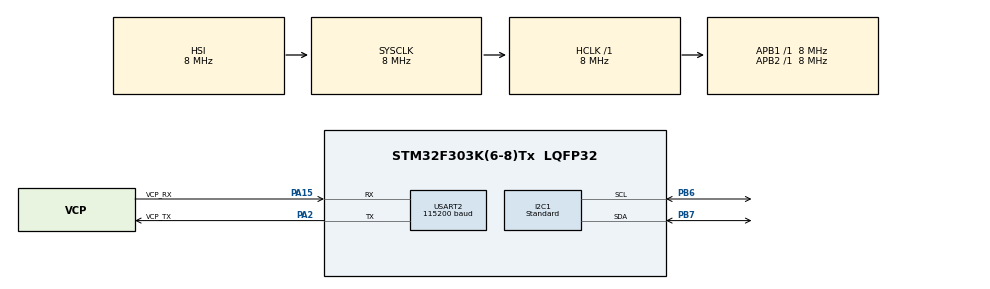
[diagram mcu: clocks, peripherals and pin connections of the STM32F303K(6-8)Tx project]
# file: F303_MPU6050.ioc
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I2C1.I2C_Speed_Mode=I2C_Standard
I2C1.Timing=0x2000090E
Mcu.Family=STM32F3
Mcu.Name=STM32F303K(6-8)Tx
Mcu.Package=LQFP32
NVIC.PriorityGroup=NVIC_PRIORITYGROUP_4
PA13.GPIO_Label=SWDIO
PA13.Mode=Serial_Wire
PA13.Signal=SYS_JTMS-SWDIO
PA14.GPIO_Label=SWCLK
PA14.Mode=Serial_Wire
PA14.Signal=SYS_JTCK-SWCLK
PA15.GPIO_Label=VCP_RX
PA15.Mode=Asynchronous
PA15.Signal=USART2_RX
PA2.GPIO_Label=VCP_TX
PA2.Mode=Asynchronous
PA2.Signal=USART2_TX
PB6.Mode=I2C
PB6.Signal=I2C1_SCL
PB7.Mode=I2C
PB7.Signal=I2C1_SDA
PF0\ /\ OSC_IN.GPIO_Label=MCO
PF0\ /\ OSC_IN.Mode=HSE-External-Clock-Source
PF0\ /\ OSC_IN.Signal=RCC_OSC_IN
ProjectManager.HeapSize=0x200
ProjectManager.StackSize=0x400
ProjectManager.TargetToolchain=STM32CubeIDE
RCC.AHBFreq_Value=8000000
RCC.APB1Freq_Value=8000000
RCC.APB2Freq_Value=8000000
RCC.CortexFreq_Value=8000000
RCC.HSE_VALUE=8000000
RCC.HSI_VALUE=8000000
RCC.SYSCLKFreq_VALUE=8000000
USART2.BaudRate=115200
USART2.VirtualMode-Asynchronous=VM_ASYNC
board=NUCLEO-F303K8

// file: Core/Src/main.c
/* USER CODE BEGIN Header */
/**
  ******************************************************************************
  * @file           : main.c
  * @brief          : Main program body
  ******************************************************************************
  * @attention
  *
  * Copyright (c) 2022 STMicroelectronics.
  * All rights reserved.
  *
  * This software is licensed under terms that can be found in the LICENSE file
  * in the root directory of this software component.
  * If no LICENSE file comes with this software, it is provided AS-IS.
  *
  ******************************************************************************
  */
/* USER CODE END Header */
#include "main.h"

/* USER CODE BEGIN Includes */
#include "stdio.h"
#include "string.h"

/* USER CODE END Includes */

I2C_HandleTypeDef hi2c1;

UART_HandleTypeDef huart2;

void SystemClock_Config(void);
static void MX_GPIO_Init(void);
static void MX_USART2_UART_Init(void);
static void MX_I2C1_Init(void);

/* USER CODE BEGIN 0 */
#define MPU6050_ADDR 			0XD0
#define SMPLRT_DIV_REG 			0X19
#define GYRO_CONFIG_REG 		0X1B
#define ACCEL_CONFIG_REG 		0X1C
#define ACCEL_XOUT_H_REG 		0X3B
#define TEMP_OUT_H_REG 			0X41
#define GYRO_XOUT_H_REG 		0X43
#define PWR_MGMT_1_REG 			0X6B
#define WHO_AM_I_REG 			0X75

int16_t Accel_X_RAW = 0;   // accelerazione
int16_t Accel_Y_RAW = 0;
int16_t Accel_Z_RAW = 0;

int16_t Gyro_X_RAW = 0;   // giroscopio
int16_t Gyro_Y_RAW = 0;
int16_t Gyro_Z_RAW = 0;

uint8_t Rec_Data1[6];  // dati acquisiti salvati in un registro
uint8_t Rec_Data2[6];

double Ax, Ay, Az, Gx, Gy, Gz;

// funzione per inizializzare tutte le periferiche dell'accelerometro/giroscopio

void MPU6050_Init (void)
{
	uint8_t check;
	check = 0;

	uint8_t Data;

	// guardo se il sensore è presente e può lavorare
	// leggo all'indirizzo 0x75 (WHO I AM)
	// se 0x68 o 104 allora vuol dire che è presente e inizia a lavorare bene
	HAL_I2C_Mem_Read(&hi2c1, MPU6050_ADDR, WHO_AM_I_REG, 1 ,&check, 1, HAL_MAX_DELAY);

	if (check == 104) // verifica presenza MPU
	{
		// registro di alimentazione PWR_MGMT_1 - tutti i bit a 0, riattivo lo slave gli dico tieniti pronto
		Data = 0;
		HAL_I2C_Mem_Write(&hi2c1, MPU6050_ADDR, PWR_MGMT_1_REG, 1, &Data, 1, 1000);
		// imposto frequenza, sample rate, con valore 7 in registro 0x19
		Data = 0x07;
		HAL_I2C_Mem_Write(&hi2c1, MPU6050_ADDR, SMPLRT_DIV_REG, 1, &Data, 1, 1000);
		// configuro accelerometro XA_ST=0; YA_ST=0; ZA_ST=0; 2g
		Data = 0x00;
		HAL_I2C_Mem_Write(&hi2c1, MPU6050_ADDR, ACCEL_CONFIG_REG, 1, &Data, 1, 1000);
		// configuro giroscopio XG_ST=0; YG_ST=0; ZG_ST=0; 250 deg/s
		Data = 0x00;
		HAL_I2C_Mem_Write(&hi2c1, MPU6050_ADDR, GYRO_CONFIG_REG, 1, &Data, 1, 1000);
	}

}

void MPU6050_Read_Accel(void)
{

	// leggo 6 byte dal reg ACCEL_XOUT_H

	HAL_I2C_Mem_Read(&hi2c1, MPU6050_ADDR, ACCEL_XOUT_H_REG, 1, Rec_Data1, 6, 1000);

	Accel_X_RAW = (int16_t)(Rec_Data1 [0] << 8 | Rec_Data1 [1]);
	Accel_Y_RAW = (int16_t)(Rec_Data1 [2] << 8 | Rec_Data1 [3]);
	Accel_Z_RAW = (int16_t)(Rec_Data1 [4] << 8 | Rec_Data1 [5]);

	// ora faccio la conversione in "g" e dobbiamo dividere per 16384.0 (FS_SEL=0 per forza da datasheet)

	Ax = Accel_X_RAW/16384.0;
	Ay = Accel_Y_RAW/16384.0;
	Az = Accel_Z_RAW/16384.0;
}

void MPU6050_Read_Gyro(void)
{

	// leggo 6 byte dal reg GYRO_XOUT_H

	HAL_I2C_Mem_Read(&hi2c1, MPU6050_ADDR, GYRO_XOUT_H_REG, 1, Rec_Data2, 6, 1000);

	Gyro_X_RAW = (int16_t)(Rec_Data2 [0] << 8 | Rec_Data2 [1]);
	Gyro_Y_RAW = (int16_t)(Rec_Data2 [2] << 8 | Rec_Data2 [3]);
	Gyro_Z_RAW = (int16_t)(Rec_Data2 [4] << 8 | Rec_Data2 [5]);

	// ora faccio la conversione in "deg/s" e dobbiamo dividere per 131.0 (FS_SEL=0 per forza da datasheet)

	Gx = Gyro_X_RAW/131.0;
	Gy = Gyro_Y_RAW/131.0;
	Gz = Gyro_Z_RAW/131.0;
}

/* USER CODE END 0 */

int main(void)
{

  /* MCU Configuration--------------------------------------------------------*/

  /* Reset of all peripherals, Initializes the Flash interface and the Systick. */
  HAL_Init();

  /* Configure the system clock */
  SystemClock_Config();

  /* Initialize all configured peripherals */
  MX_GPIO_Init();
  MX_USART2_UART_Init();
  MX_I2C1_Init();
  /* USER CODE BEGIN 2 */
 MPU6050_Init();
 char msg[72];

  /* USER CODE END 2 */

  /* Infinite loop */
  while (1)
  {

  }
}

void SystemClock_Config(void)
{
  RCC_OscInitTypeDef RCC_OscInitStruct = {0};
  RCC_ClkInitTypeDef RCC_ClkInitStruct = {0};
  RCC_PeriphCLKInitTypeDef PeriphClkInit = {0};

  /** Initializes the RCC Oscillators according to the specified parameters
  * in the RCC_OscInitTypeDef structure.
  */
  RCC_OscInitStruct.OscillatorType = RCC_OSCILLATORTYPE_HSI;
  RCC_OscInitStruct.HSIState = RCC_HSI_ON;
  RCC_OscInitStruct.HSICalibrationValue = RCC_HSICALIBRATION_DEFAULT;
  RCC_OscInitStruct.PLL.PLLState = RCC_PLL_NONE;
  if (HAL_RCC_OscConfig(&RCC_OscInitStruct) != HAL_OK)
  {
    Error_Handler();
  }
  /** Initializes the CPU, AHB and APB buses clocks
  */
  RCC_ClkInitStruct.ClockType = RCC_CLOCKTYPE_HCLK|RCC_CLOCKTYPE_SYSCLK
                              |RCC_CLOCKTYPE_PCLK1|RCC_CLOCKTYPE_PCLK2;
  RCC_ClkInitStruct.SYSCLKSource = RCC_SYSCLKSOURCE_HSI;
  RCC_ClkInitStruct.AHBCLKDivider = RCC_SYSCLK_DIV1;
  RCC_ClkInitStruct.APB1CLKDivider = RCC_HCLK_DIV1;
  RCC_ClkInitStruct.APB2CLKDivider = RCC_HCLK_DIV1;

  if (HAL_RCC_ClockConfig(&RCC_ClkInitStruct, FLASH_LATENCY_0) != HAL_OK)
  {
    Error_Handler();
  }
  PeriphClkInit.PeriphClockSelection = RCC_PERIPHCLK_I2C1;
  PeriphClkInit.I2c1ClockSelection = RCC_I2C1CLKSOURCE_HSI;
  if (HAL_RCCEx_PeriphCLKConfig(&PeriphClkInit) != HAL_OK)
  {
    Error_Handler();
  }
}

static void MX_I2C1_Init(void)
{

  hi2c1.Instance = I2C1;
  hi2c1.Init.Timing = 0x2000090E;
  hi2c1.Init.OwnAddress1 = 0;
  hi2c1.Init.AddressingMode = I2C_ADDRESSINGMODE_7BIT;
  hi2c1.Init.DualAddressMode = I2C_DUALADDRESS_DISABLE;
  hi2c1.Init.OwnAddress2 = 0;
  hi2c1.Init.OwnAddress2Masks = I2C_OA2_NOMASK;
  hi2c1.Init.GeneralCallMode = I2C_GENERALCALL_DISABLE;
  hi2c1.Init.NoStretchMode = I2C_NOSTRETCH_DISABLE;
  if (HAL_I2C_Init(&hi2c1) != HAL_OK)
  {
    Error_Handler();
  }
  /** Configure Analogue filter
  */
  if (HAL_I2CEx_ConfigAnalogFilter(&hi2c1, I2C_ANALOGFILTER_ENABLE) != HAL_OK)
  {
    Error_Handler();
  }
  /** Configure Digital filter
  */
  if (HAL_I2CEx_ConfigDigitalFilter(&hi2c1, 0) != HAL_OK)
  {
    Error_Handler();
  }

}

static void MX_USART2_UART_Init(void)
{

  huart2.Instance = USART2;
  huart2.Init.BaudRate = 115200;
  huart2.Init.WordLength = UART_WORDLENGTH_8B;
  huart2.Init.StopBits = UART_STOPBITS_1;
  huart2.Init.Parity = UART_PARITY_NONE;
  huart2.Init.Mode = UART_MODE_TX_RX;
  huart2.Init.HwFlowCtl = UART_HWCONTROL_NONE;
  huart2.Init.OverSampling = UART_OVERSAMPLING_16;
  huart2.Init.OneBitSampling = UART_ONE_BIT_SAMPLE_DISABLE;
  huart2.AdvancedInit.AdvFeatureInit = UART_ADVFEATURE_NO_INIT;
  if (HAL_UART_Init(&huart2) != HAL_OK)
  {
    Error_Handler();
  }

}

static void MX_GPIO_Init(void)
{

  /* GPIO Ports Clock Enable */
  __HAL_RCC_GPIOF_CLK_ENABLE();
  __HAL_RCC_GPIOA_CLK_ENABLE();
  __HAL_RCC_GPIOB_CLK_ENABLE();

}

void Error_Handler(void)
{
  __disable_irq();
  while (1)
  {
  }
}
